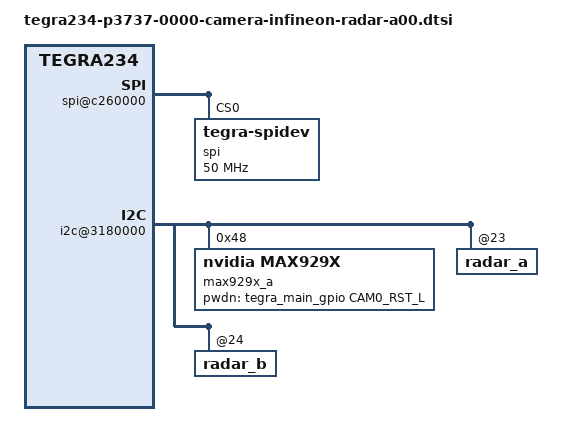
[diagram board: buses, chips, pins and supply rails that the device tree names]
/*
 * radar.c - radar sensor driver
 * Copyright (c) 2021-2022, LeopardImaging Inc. All rights reserved.
 *
 * Based on Copyright (c) 2018-2023, NVIDIA CORPORATION.  All rights reserved.
 *
 * This program is free software; you can redistribute it and/or modify
 * it under the terms of the GNU General Public License as published by
 * the Free Software Foundation; either version 2 of the License, or
 * (at your option) any later version.
 *
 * This program is distributed in the hope that it will be useful, but WITHOUT
 * ANY WARRANTY; without even the implied warranty of MERCHANTABILITY or
 * FITNESS FOR A PARTICULAR PURPOSE.  See the GNU General Public License for
 * more details.
 *
 * You should have received a copy of the GNU General Public License
 * along with this program.  If not, see <http://www.gnu.org/licenses/>.
 */
#include <t234-common-modules/tegra234-camera-infineon-radar-a00.dtsi>
#include "dt-bindings/clock/tegra234-clock.h"

#define CAM0_RST_L	TEGRA234_MAIN_GPIO(H, 3)
#define CAM0_PWDN	TEGRA234_MAIN_GPIO(H, 6)
#define CAM1_RST_L	TEGRA234_MAIN_GPIO(AC, 2)
#define CAM1_PWDN	TEGRA234_MAIN_GPIO(AC, 0)
#define PWR_EN      TEGRA234_MAIN_GPIO(M, 5)
#define CAMERA_I2C_MUX_BUS(x) (0x1E + x)

/* camera control gpio definitions */

/ {
	spi@c260000{ /* hardware pin name SPI2 */
		compatible = "nvidia,tegra186-spi";
		status = "okay";
		spi@0 { /* chip select 0 */
			compatible = "tegra-spidev";
			reg = <0x0>;
			spi-max-frequency = <50000000>;
			controller-data {
				nvidia,enable-hw-based-cs;
				nvidia,rx-clk-tap-delay = <0x10>;
				nvidia,tx-clk-tap-delay = <0x0>;
			};
		};
	};

	i2c@3180000 {
		max929x_a@48 {
			compatible = "nvidia,max929x";
			deser-index = <0>;
			reg = <0x48>;
			pwdn-gpios = <&tegra_main_gpio CAM0_RST_L GPIO_ACTIVE_HIGH>;
		};
		radar_a@23 {
			/* Define any required hw resources needed by driver */
			/* ie. clocks, io pins, power sources */
			clocks = <&bpmp_clks TEGRA234_CLK_EXTPERIPH1>,
						<&bpmp_clks TEGRA234_CLK_EXTPERIPH1>;
			port-index = <0>;
			clock-names = "extperiph1", "pllp_grtba";
			mclk = "extperiph1";
		};
		radar_b@24 {
			/* Define any required hw resources needed by driver */
			/* ie. clocks, io pins, power sources */
			clocks = <&bpmp_clks TEGRA234_CLK_EXTPERIPH1>,
						<&bpmp_clks TEGRA234_CLK_EXTPERIPH1>;
			port-index = <1>;
			clock-names = "extperiph1", "pllp_grtba";
			mclk = "extperiph1";
		};
	};
};
